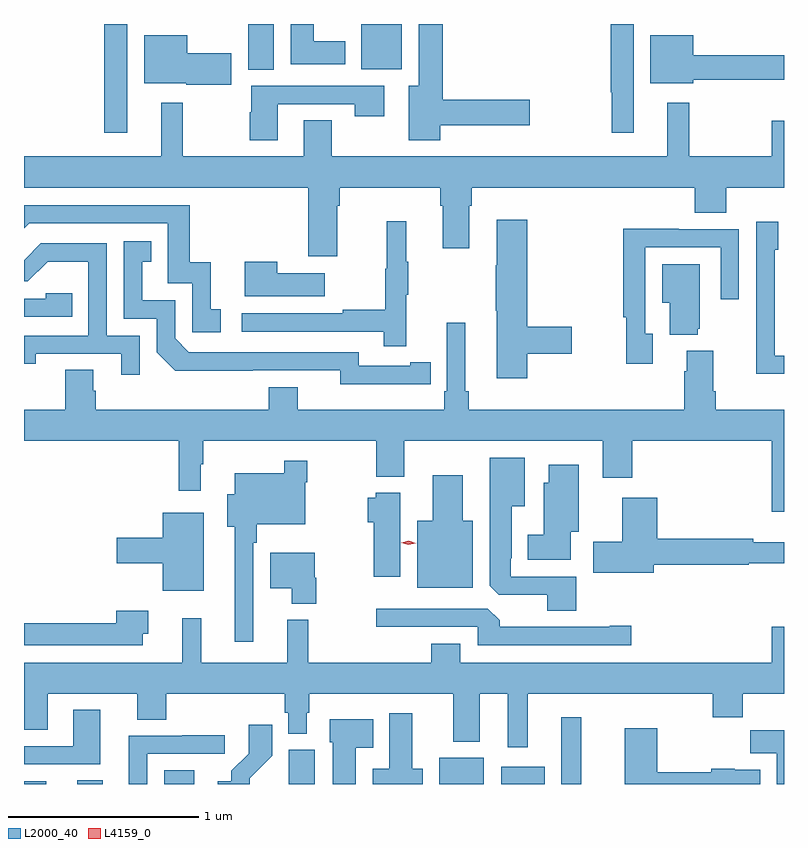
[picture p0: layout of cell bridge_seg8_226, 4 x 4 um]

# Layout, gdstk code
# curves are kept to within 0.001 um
import gdstk
lib = gdstk.Library(unit=1e-6, precision=1e-09)
def R(c, l, rs):  # rectangles x0, y0, x1, y1
    for r in rs: c.add(gdstk.rectangle(r[:2], r[2:], *l))
def P(c, l, *ps):  # polygons
    for p in ps: c.add(gdstk.Polygon(p, *l))
L2000_40 = (2000, 40)
L4159_0 = (4159, 0)

bridge_seg8_226 = lib.new_cell('bridge_seg8_226')
R(bridge_seg8_226, L2000_40, [(125.109,1122.685,125.226,1122.7), (125.39,1122.685,125.524,1122.704), (125.846,1122.685,126.004,1122.757), (126.503,1122.685,126.64,1122.865), (127.295,1122.685,127.528,1122.823), (127.622,1122.685,127.849,1122.775), (127.937,1122.685,128.041,1123.036), (125.532,1126.113,125.653,1126.685), (126.29,1126.444,126.424,1126.685), (126.884,1126.448,127.096,1126.685)])
P(bridge_seg8_226, L2000_40, [(128.317,1126.685),(128.196,1126.685),(128.196,1126.325),(128.203,1126.325),(128.203,1126.113),(128.317,1126.113)],
  [(126.799,1126.594),(126.634,1126.594),(126.634,1126.685),(126.512,1126.685),(126.512,1126.472),(126.799,1126.472)],
  [(127.3,1126.151),(127.771,1126.151),(127.771,1126.286),(127.313,1126.286),(127.313,1126.685),(127.187,1126.685),(127.187,1126.36),(127.133,1126.36),(127.133,1126.074),(127.3,1126.074)],
  [(128.632,1126.392),(128.94,1126.392),(128.94,1126.391),(129.109,1126.391),(129.109,1126.52),(128.632,1126.52),(128.632,1126.627),(128.405,1126.627),(128.405,1126.373),(128.632,1126.373)],
  [(126.199,1126.531),(125.968,1126.531),(125.968,1126.627),(125.741,1126.627),(125.741,1126.373),(125.964,1126.373),(125.964,1126.366),(126.199,1126.366)],
  [(126.445,1126.263),(126.85,1126.263),(126.85,1126.2),(127.006,1126.2),(127.006,1126.359),(126.305,1126.359),(126.305,1126.221),(126.298,1126.221),(126.298,1126.074),(126.445,1126.074)],
  [(126.757,1125.728),(126.77,1125.728),(126.77,1125.824),(127.301,1125.824),(127.301,1125.728),(127.313,1125.728),(127.313,1125.504),(127.453,1125.504),(127.453,1125.728),(127.466,1125.728),(127.466,1125.824),(128.639,1125.824),(128.639,1125.691),(128.804,1125.691),(128.804,1125.824),(129.109,1125.824),(129.109,1126.177),(129.044,1126.177),(129.044,1125.988),(128.609,1125.988),(128.609,1126.27),(128.495,1126.27),(128.495,1125.988),(126.729,1125.988),(126.729,1126.178),(126.581,1126.178),(126.581,1125.988),(125.945,1125.988),(125.945,1126.27),(125.831,1126.27),(125.831,1125.988),(125.109,1125.988),(125.109,1125.824),(126.605,1125.824),(126.605,1125.462),(126.757,1125.462)],
  [(126.145,1125.183),(126.092,1125.183),(126.092,1125.43),(125.981,1125.43),(125.981,1125.732),(125.109,1125.732),(125.109,1125.609),(125.136,1125.636),(125.865,1125.636),(125.865,1125.321),(125.994,1125.321),(125.994,1125.063),(126.145,1125.063)],
  [(127.757,1124.95),(127.993,1124.95),(127.993,1125.092),(127.757,1125.092),(127.757,1125.655),(127.598,1125.655),(127.598,1125.416),(127.591,1125.416),(127.591,1125.175),(127.598,1125.175),(127.598,1124.82),(127.757,1124.82)],
  [(127.121,1125.259),(127.132,1125.259),(127.132,1125.433),(127.121,1125.433),(127.121,1125.646),(127.018,1125.646),(127.018,1125.396),(127.011,1125.396),(127.011,1125.182),(126.787,1125.182),(126.787,1125.162),(126.255,1125.162),(126.255,1125.066),(127.003,1125.066),(127.003,1124.988),(127.121,1124.988)],
  [(129.109,1124.94),(129.06,1124.94),(129.06,1125.498),(129.079,1125.498),(129.079,1125.643),(128.964,1125.643),(128.964,1125.149),(128.962,1125.149),(128.962,1124.843),(129.109,1124.843)],
  [(128.419,1125.054),(128.379,1125.054),(128.379,1125.51),(128.775,1125.51),(128.775,1125.237),(128.871,1125.237),(128.871,1125.606),(128.555,1125.606),(128.555,1125.608),(128.263,1125.608),(128.263,1125.142),(128.278,1125.142),(128.278,1124.898),(128.419,1124.898)],
  [(127.142,1124.79),(127.25,1124.79),(127.25,1124.906),(127.142,1124.906),(127.142,1124.886),(126.87,1124.886),(126.87,1124.958),(125.976,1124.958),(125.904,1125.03),(125.904,1125.231),(125.731,1125.231),(125.731,1125.435),(125.78,1125.435),(125.78,1125.541),(125.634,1125.541),(125.634,1125.135),(125.808,1125.135),(125.808,1124.958),(125.906,1124.861),(126.774,1124.862),(126.774,1124.789)],
  [(125.718,1125.045),(125.544,1125.045),(125.544,1125.531),(125.198,1125.531),(125.109,1125.442),(125.109,1125.33),(125.13,1125.33),(125.234,1125.434),(125.448,1125.434),(125.448,1125.045),(125.109,1125.045),(125.109,1124.898),(125.17,1124.898),(125.17,1124.949),(125.621,1124.949),(125.621,1124.838),(125.718,1124.838)],
  [(126.691,1125.373),(126.443,1125.373),(126.443,1125.433),(126.272,1125.433),(126.272,1125.251),(126.691,1125.251)],
  [(128.654,1125.081),(128.665,1125.081),(128.665,1125.421),(128.468,1125.421),(128.468,1125.218),(128.507,1125.218),(128.507,1125.05),(128.654,1125.05)],
  [(125.363,1125.267),(125.223,1125.267),(125.223,1125.24),(125.109,1125.24),(125.109,1125.144),(125.363,1125.144)],
  [(129.109,1124.656),(128.75,1124.656),(128.75,1124.752),(128.737,1124.752),(128.737,1124.965),(128.597,1124.965),(128.597,1124.858),(128.585,1124.858),(128.585,1124.656),(127.451,1124.656),(127.451,1124.752),(127.432,1124.752),(127.432,1125.112),(127.335,1125.112),(127.335,1124.752),(127.322,1124.752),(127.322,1124.656),(126.55,1124.656),(126.55,1124.773),(126.398,1124.773),(126.398,1124.656),(125.486,1124.656),(125.486,1124.754),(125.473,1124.754),(125.473,1124.864),(125.326,1124.864),(125.326,1124.656),(125.109,1124.656),(125.109,1124.492),(125.923,1124.492),(125.923,1124.229),(126.04,1124.229),(126.04,1124.369),(126.052,1124.369),(126.052,1124.492),(126.964,1124.492),(126.964,1124.303),(127.111,1124.303),(127.111,1124.492),(128.156,1124.492),(128.156,1124.298),(128.309,1124.298),(128.309,1124.492),(129.044,1124.492),(129.044,1124.118),(129.109,1124.118)],
  [(128.015,1123.776),(127.671,1123.776),(127.671,1123.873),(127.675,1123.873),(127.675,1124.147),(127.744,1124.147),(127.744,1124.401),(127.559,1124.401),(127.559,1123.729),(127.608,1123.68),(127.862,1123.68),(127.862,1123.597),(128.015,1123.597)],
  [(126.315,1123.955),(126.335,1123.955),(126.335,1124.051),(126.588,1124.051),(126.588,1124.273),(126.601,1124.273),(126.601,1124.386),(126.48,1124.386),(126.48,1124.32),(126.218,1124.32),(126.218,1124.209),(126.179,1124.209),(126.179,1124.039),(126.218,1124.039),(126.218,1123.434),(126.315,1123.434)],
  [(127.987,1124.012),(128.029,1124.012),(128.029,1124.365),(127.871,1124.365),(127.871,1124.271),(127.844,1124.271),(127.844,1123.996),(127.76,1123.996),(127.76,1123.865),(127.987,1123.865)],
  [(127.471,1124.071),(127.417,1124.071),(127.417,1124.311),(127.259,1124.311),(127.259,1124.071),(127.178,1124.071),(127.178,1123.718),(127.471,1123.718)],
  [(127.09,1124.218),(126.96,1124.218),(126.96,1124.191),(126.917,1124.191),(126.917,1124.062),(126.949,1124.062),(126.949,1123.776),(127.09,1123.776)],
  [(128.424,1123.84),(128.924,1123.84),(128.924,1123.848),(129.109,1123.848),(129.109,1123.957),(128.948,1123.957),(128.948,1123.976),(128.441,1123.976),(128.441,1124.191),(128.258,1124.191),(128.258,1123.959),(128.106,1123.959),(128.106,1123.796),(128.424,1123.796)],
  [(126.055,1124.113),(125.84,1124.113),(125.84,1123.982),(125.598,1123.982),(125.598,1123.847),(125.84,1123.847),(125.84,1123.703),(126.055,1123.703)],
  [(126.648,1123.77),(126.64,1123.77),(126.64,1123.903),(126.404,1123.903),(126.404,1123.715),(126.518,1123.715),(126.518,1123.634),(126.648,1123.634)],
  [(128.305,1123.517),(128.192,1123.517),(128.192,1123.512),(127.613,1123.512),(127.613,1123.546),(127.551,1123.608),(126.963,1123.608),(126.963,1123.512),(127.497,1123.512),(127.497,1123.416),(128.305,1123.416)],
  [(125.734,1123.475),(125.764,1123.475),(125.764,1123.597),(125.594,1123.597),(125.594,1123.532),(125.109,1123.532),(125.109,1123.416),(125.734,1123.416)],
  [(127.759,1123.16),(128.735,1123.16),(128.735,1123.036),(128.891,1123.036),(128.891,1123.16),(129.109,1123.16),(129.109,1123.513),(129.044,1123.513),(129.044,1123.324),(127.405,1123.324),(127.405,1123.423),(127.253,1123.423),(127.253,1123.324),(126.604,1123.324),(126.604,1123.549),(126.494,1123.549),(126.494,1123.324),(126.041,1123.324),(126.041,1123.558),(125.942,1123.558),(125.942,1123.324),(125.109,1123.324),(125.109,1122.97),(125.233,1122.97),(125.233,1123.16),(125.705,1123.16),(125.705,1123.024),(125.858,1123.024),(125.858,1123.16),(126.481,1123.16),(126.481,1123.059),(126.501,1123.059),(126.501,1122.95),(126.597,1122.95),(126.597,1123.059),(126.61,1123.059),(126.61,1123.16),(127.367,1123.16),(127.367,1122.908),(127.507,1122.908),(127.507,1123.16),(127.655,1123.16),(127.655,1122.879),(127.759,1122.879)],
  [(125.509,1123.075),(125.369,1123.075),(125.369,1122.885),(125.109,1122.885),(125.109,1122.789),(125.509,1122.789)],
  [(127.207,1122.766),(127.153,1122.766),(127.153,1123.057),(127.031,1123.057),(127.031,1122.766),(126.944,1122.766),(126.944,1122.685),(127.207,1122.685)],
  [(126.856,1122.875),(126.946,1122.875),(126.946,1123.027),(126.717,1123.027),(126.717,1122.906),(126.734,1122.906),(126.734,1122.685),(126.856,1122.685)],
  [(126.297,1122.715),(126.416,1122.834),(126.416,1122.997),(126.291,1122.997),(126.291,1122.845),(126.2,1122.755),(126.2,1122.7),(126.128,1122.7),(126.128,1122.685),(126.297,1122.685)],
  [(128.983,1122.76),(128.85,1122.76),(128.85,1122.766),(128.725,1122.766),(128.725,1122.748),(128.441,1122.748),(128.441,1122.979),(128.27,1122.979),(128.27,1122.685),(128.983,1122.685)],
  [(129.109,1122.967),(128.932,1122.967),(128.932,1122.848),(129.071,1122.848),(129.071,1122.685),(129.109,1122.685)],
  [(125.757,1122.843),(126.166,1122.843),(126.166,1122.942),(125.941,1122.942),(125.941,1122.939),(125.66,1122.939),(125.66,1122.685),(125.757,1122.685)])
P(bridge_seg8_226, L4159_0, [(127.132,1123.944),(127.095,1123.955),(127.094,1123.955),(127.095,1123.955),(127.133,1123.964),(127.171,1123.953),(127.171,1123.953),(127.171,1123.953)])

lib.write_gds('bridge_seg8_226.gds')
